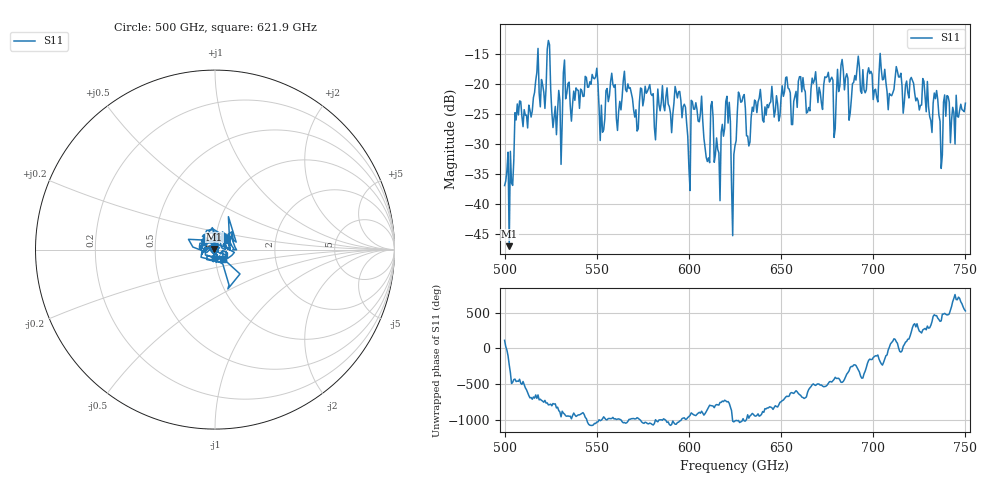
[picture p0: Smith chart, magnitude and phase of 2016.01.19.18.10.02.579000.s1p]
!Created with skrf (http://scikit-rf.org).
# GHz S RI R 50.0
!freq ReS11 ImS11
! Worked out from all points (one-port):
!   401 points, 500 GHz to 750 GHz, reference 50 ohm
!   lowest |S11| = -47.0 dB at 502.5 GHz (marker M1), VSWR 1.01, Z = 49.7 + j0.34 ohm
!   |S11| at or under -10 dB: start of sweep to end of sweep
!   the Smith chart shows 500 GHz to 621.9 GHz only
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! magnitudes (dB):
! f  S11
! 500 GHz  -36.9
! 502.5 GHz  -47.0
! 506.9 GHz  -23.3
! 516.9 GHz  -19.4
! 523.8 GHz  -12.7
! 526.9 GHz  -25.5
! 531.2 GHz  -26.3
! 548.8 GHz  -19.1
! 553.1 GHz  -28.0
! 558.8 GHz  -20.0
! 562.5 GHz  -22.9
! 593.8 GHz  -22.3
! 599.4 GHz  -28.7
! 602.5 GHz  -24.2
! 615.6 GHz  -30.9
! 621.2 GHz  -26.5
! 622.5 GHz  -26.2
! 625 GHz  -30.3
! 628.1 GHz  -23.0
! 632.5 GHz  -30.3
! 637.5 GHz  -23.0
! 656.2 GHz  -26.7
! 687.5 GHz  -24.8
! 691.2 GHz  -17.3
! 718.8 GHz  -21.4
! 733.8 GHz  -22.4
! 736.9 GHz  -34.0
! 750 GHz  -23.2
